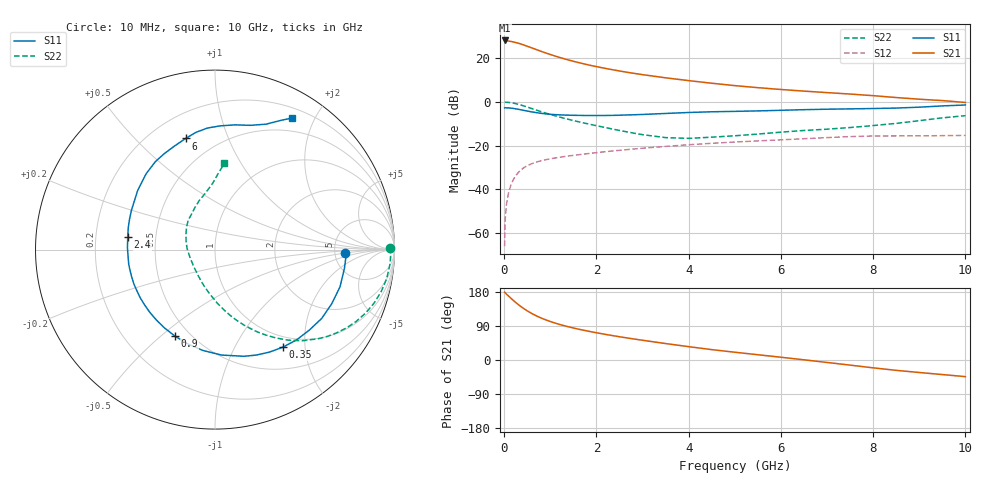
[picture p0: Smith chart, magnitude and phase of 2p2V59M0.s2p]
! (c) 2009  Infineon Technologies AG, Munich
! Infineon Technologies  Discrete & RF Semiconductors
! BFP420
! VCE =  2.5 V,  IC =  9.0 mA
! Common Emitter S-Parameters:  Nov 2009
# GHz  S  MA  R  50
!  f  S11  S21  S12  S22
! GHz  MAG  ANG  MAG  ANG  MAG  ANG  MAG  ANG
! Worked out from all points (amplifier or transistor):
!   46 points, 10 MHz to 10 GHz, reference 50 ohm
!   highest |S21| = 28.1 dB at 10 MHz (marker M1)
!   |S21| within 3 dB of that: start of sweep to 546.8 MHz
!   unconditionally stable (mu >= 1): 2.446 GHz to end of sweep
!   at 300 MHz: K = 0.17, MSG = 29.7 dB, |S12| = -32.5 dB
!   at 1.7 GHz: K = 0.79, MSG = 20.7 dB, |S12| = -24.0 dB
!   at 10 GHz: K = 1.09, MAG = 5.7 dB, |S12| = -15.4 dB
!   S11 on the Smith chart (normalised r, x): 10 MHz: 6.27, -0.57; 350 MHz: 0.82, -1.59; 900 MHz: 0.42, -0.56; 2.4 GHz: 0.34, +0.06; 6 GHz: 0.34, +0.71; 10 GHz: 0.33, +1.69
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0.01  0.727 -1.7  25.34 179.1  0.0005 87.4  0.9741 0.6
0.02  0.7302 -3.6  24.69 177.6  0.0019 84.8  0.9795 -1.7
0.05  0.7287 -8.2  24.64 173.9  0.0045 85.6  0.9788 -4.6
0.1  0.7268 -16.6  24.49 168.3  0.0088 82.4  0.9703 -9.5
0.2  0.7075 -32.8  23.47 157.2  0.0167 74.7  0.9346 -18.7
0.25  0.6909 -40.5  22.72 151.8  0.0204 71.4  0.9103 -22.9
0.35  0.6621 -55.2  21.21 142.3  0.0269 65.2  0.8527 -30.8
0.45  0.6312 -68.6  19.54 133.7  0.0323 60.1  0.7911 -37.7
0.6  0.5888 -86.4  17.11 122.6  0.0386 54.1  0.7012 -46.4
0.7  0.5659 -96.9  15.64 116.4  0.042 51.1  0.6469 -51.2
0.9  0.5313 -114.7  13.14 106.0  0.0474 46.7  0.5547 -59.2
1.2  0.5042 -136.1  10.38 93.9  0.0539 42.9  0.4494 -69.1
1.4  0.4954 -147.5  9.031 87.4  0.0578 41.3  0.3965 -74.7
1.7  0.4883 -162.0  7.515 79.1  0.0633 39.4  0.3336 -82.3
2.4  0.491 172.0  5.303 63.4  0.0761 35.8  0.2329 -100.5
3.5  0.5421 142.7  3.545 43.4  0.0956 29.4  0.1518 -141.2
4.5  0.5923 124.1  2.664 27.4  0.1126 22.4  0.1556 178.1
5.5  0.6202 111.1  2.109 13.9  0.1277 15.5  0.1831 152.1
6  0.6404 104.8  1.917 7.3  0.1352 12.0  0.2024 141.5
7  0.6784 93.6  1.626 -6.5  0.152 3.9  0.2367 123.6
8.5  0.7203 74.0  1.254 -27.3  0.1664 -11.6  0.3212 99.2
10  0.8475 59.8  0.968 -43.9  0.1706 -21.9  0.483 83.8
